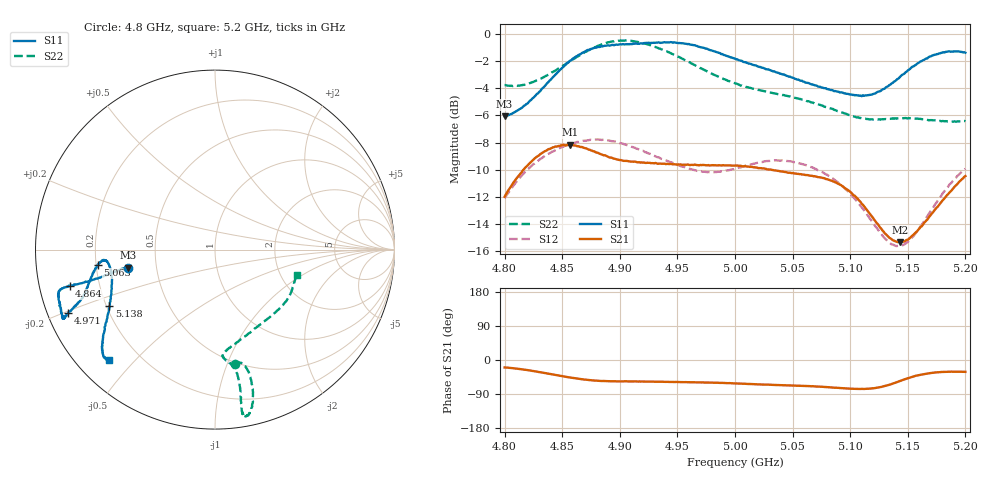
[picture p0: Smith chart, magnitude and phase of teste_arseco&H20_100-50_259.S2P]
! Network Analyzer HP8722D
! Hewlett-Packard
! Data name: Linha & Wilkinson
! Saver's name: Rodrigo Anjos
! Comments: Teste da utilização de aquisição
! continua pelo VNA HP8722D
! Time and date: 6/5/2025 14:43
!  Frequency  S11  S21  S12  S22
# HZ  S  MA R 50
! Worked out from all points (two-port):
!   401 points, 4.8 GHz to 5.2 GHz, reference 50 ohm
!   highest |S21| = -8.15 dB at 4.857 GHz (marker M1); lowest = -15.3 dB at 5.143 GHz (marker M2)
!   |S21| within 3 dB of the highest: 4.806 GHz to 5.092 GHz (286.3 MHz wide, 5.78 % of centre); 5.191787 GHz to end of sweep
!   lowest |S11| = -6.1 dB at 4.8 GHz (marker M3), VSWR 2.97, Z = 17 - j4.57 ohm
!   |S11| at or under -10 dB: nowhere
!   |S22| runs from -6.5 to -0.5 dB; largest |S21 - S12| = 0.62
!   S11 on the Smith chart (normalised r, x): 4.8 GHz: 0.34, -0.09; 4.864 GHz: 0.09, -0.12; 4.971 GHz: 0.06, -0.21; 5.063 GHz: 0.21, -0.06; 5.138 GHz: 0.21, -0.24; 5.2 GHz: 0.09, -0.42
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4.8e9  0.4968 -168.2  0.2516 -19.8  0.2487 -141.0  0.6478 -80.3
4.828e9  0.6007 -167.2  0.3532 -30.7  0.3381 -144.9  0.6748 -75.4
4.857e9  0.7965 -165.9  0.3912 -46.4  0.393 -150.3  0.7941 -74.8
4.864e9  0.8348 -165.9  0.386 -49.5  0.3997 -151.5  0.8273 -75.2
4.867e9  0.8484 -165.8  0.3836 -50.7  0.403 -152.1  0.8427 -75.5
4.899e9  0.9124 -162.9  0.344 -56.5  0.3978 -156.7  0.9428 -79.2
4.934e9  0.9294 -156.5  0.3331 -57.5  0.351 -155.7  0.8823 -80.5
4.949e9  0.926 -155.5  0.3308 -57.8  0.3315 -153.0  0.8298 -80.1
4.971e9  0.8907 -156.5  0.3288 -59.3  0.3118 -146.5  0.7451 -79.7
5e9  0.8105 -159.0  0.3273 -61.7  0.3196 -137.2  0.6573 -81.3
5.036e9  0.7203 -165.7  0.314 -66.0  0.3426 -134.5  0.6015 -85.6
5.063e9  0.6598 -172.6  0.3023 -68.7  0.3273 -136.4  0.5651 -83.6
5.067e9  0.6512 -173.0  0.3006 -69.1  0.3231 -136.8  0.5589 -82.5
5.086e9  0.6148 -174.5  0.2858 -72.9  0.2912 -138.4  0.5251 -75.3
5.101e9  0.5979 -172.1  0.2603 -75.8  0.2554 -138.8  0.5008 -66.6
5.116e9  0.5949 -165.3  0.2211 -76.0  0.2126 -135.6  0.4853 -55.7
5.134e9  0.6475 -154.3  0.1778 -65.4  0.1707 -120.7  0.4868 -43.3
5.138e9  0.6671 -151.8  0.1736 -61.2  0.1672 -115.5  0.4873 -40.7
5.143e9  0.6922 -149.2  0.1712 -55.9  0.1656 -109.0  0.4882 -38.0
5.154e9  0.7563 -144.3  0.1812 -44.5  0.1789 -95.0  0.4883 -32.3
5.171e9  0.8307 -139.4  0.2189 -34.0  0.2261 -81.7  0.4812 -24.8
5.2e9  0.8514 -133.7  0.2998 -31.3  0.3188 -76.9  0.4767 -17.5
